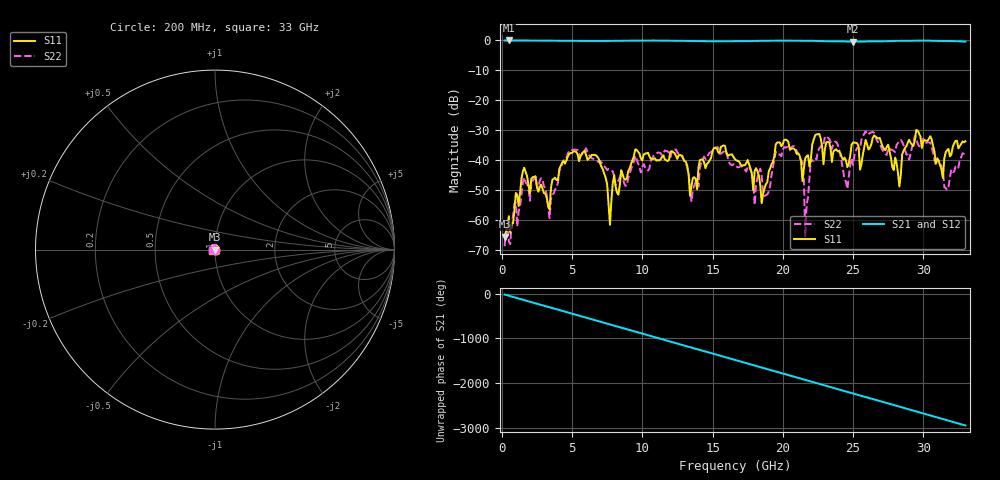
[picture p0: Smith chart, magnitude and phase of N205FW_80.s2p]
# GHZ S RI R 50
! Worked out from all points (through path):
!   329 points, 200 MHz to 33 GHz, reference 50 ohm
!   highest |S21| = -0.01 dB at 500 MHz (marker M1); lowest = -0.4 dB at 25 GHz (marker M2)
!   group delay of S21, straight-line fit = 248 ps
!   lowest |S11| = -65.7 dB at 200 MHz (marker M3), VSWR 1.00, Z = 50 - j0.0514 ohm
!   |S11| at or under -10 dB: start of sweep to end of sweep
!   |S22| runs from -68.9 to -30.4 dB; largest |S21 - S12| = 0.0022
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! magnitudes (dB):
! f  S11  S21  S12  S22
! 200 MHz  -65.7  0.0  0.0  -68.9
! 500 MHz  -58.8  0.0  0.0  -67.2
! 1.6 GHz  -42.6  0.0  0.0  -45.9
! 3.4 GHz  -56.6  -0.1  -0.1  -59.5
! 5.7 GHz  -37.9  -0.2  -0.2  -38.1
! 7.2 GHz  -43.2  -0.2  -0.2  -41.6
! 7.7 GHz  -61.7  -0.2  -0.2  -43.2
! 8 GHz  -45.1  -0.1  -0.1  -45.4
! 11.2 GHz  -40.2  -0.1  -0.1  -37.5
! 13.5 GHz  -48.7  -0.2  -0.2  -54.0
! 16.6 GHz  -39.7  -0.3  -0.3  -42.0
! 18.5 GHz  -54.5  -0.1  -0.1  -45.3
! 20.8 GHz  -36.2  -0.1  -0.1  -35.4
! 21.4 GHz  -47.1  -0.1  -0.1  -40.7
! 21.6 GHz  -39.4  -0.1  -0.1  -65.8
! 22.1 GHz  -34.8  -0.1  -0.1  -40.2
! 25 GHz  -34.1  -0.4  -0.4  -41.7
! 27.6 GHz  -37.2  -0.2  -0.2  -36.2
! 28.3 GHz  -48.9  -0.1  -0.1  -34.0
! 30.5 GHz  -32.0  -0.1  -0.1  -34.1
! 31.7 GHz  -36.7  -0.2  -0.2  -50.0
! 33 GHz  -33.7  -0.4  -0.4  -36.9
